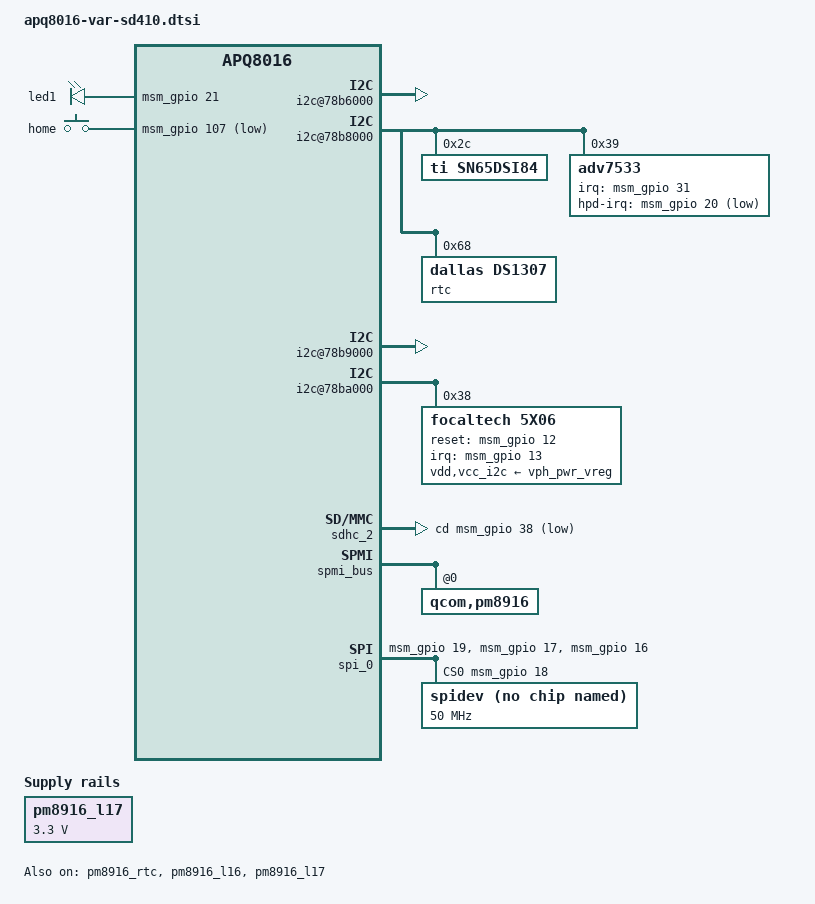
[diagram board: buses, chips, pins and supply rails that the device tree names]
/* Copyright (c) 2015, The Linux Foundation. All rights reserved.
 *
 * This program is free software; you can redistribute it and/or modify
 * it under the terms of the GNU General Public License version 2 and
 * only version 2 as published by the Free Software Foundation.
 *
 * This program is distributed in the hope that it will be useful,
 * but WITHOUT ANY WARRANTY; without even the implied warranty of
 * MERCHANTABILITY or FITNESS FOR A PARTICULAR PURPOSE.  See the
 * GNU General Public License for more details.
 */

#include "apq8016-dart.dtsi"
#include "apq8016-camera-sensor-var-sd410.dtsi"
#include "dsi-panel-var-sd410.dtsi"

/ {
	aliases {
		serial0 = &blsp1_uart2;
	};
};

&soc {
	i2c@78b6000 { /* BLSP1 QUP2 */
	        status = "ok";
	};

	i2c@78b8000 { /* BLSP1 QUP4 */
        status = "ok";
		/* DSI_TO_LVDS I2C configuration */
		sn65dsi84@2c {
			compatible = "ti,sn65dsi84";
			reg = <0x2c>;
			sn65dsi84,addresses = <	0x09 0x0A 0x0B 0x0D 0x10 0x11 0x12 0x13 
									0x18 0x19 0x1A 0x1B 0x20 0x21 0x22 0x23 
									0x24 0x25 0x26 0x27 0x28 0x29 0x2A 0x2B 
									0x2C 0x2D 0x2E 0x2F 0x30 0x31 0x32 0x33 
									0x34 0x35 0x36 0x37 0x38 0x39 0x3A 0x3B 
									0x3C 0x3D 0x3E 0x0D>;
			sn65dsi84,values =    <	0x00 0x01 0x10 0x00 0x26 0x00 0x11 0x00 
									0x7a 0x00 0x03 0x00 0x20 0x03 0x00 0x00 
									0x00 0x00 0x00 0x00 0x21 0x00 0x00 0x00 
									0x30 0x00 0x00 0x00 0x03 0x00 0x00 0x00 
									0x28 0x00 0x00 0x00 0x00 0x00 0x00 0x00 
									0x00 0x00 0x00 0x01>;
		};
		
		/* DSI_TO_HDMI I2C configuration */
		adv7533@39 {
			compatible = "adv7533";
			reg = <0x39>;
			adv7533,video-mode = <3>; /* 3 = 1080p */
			adv7533,main-addr = <0x39>;
			adv7533,cec-dsi-addr = <0x3C>;
			adv7533,audio = <1>;
			pinctrl-names = "pmx_adv7533_active","pmx_adv7533_suspend";
			pinctrl-0 = <&adv7533_int_active &adv7533_hpd_int_active &adv7533_switch_active>;
			pinctrl-1 = <&adv7533_int_suspend &adv7533_hpd_int_suspend &adv7533_switch_suspend>;
			adv7533,irq-gpio = <&msm_gpio 31 0x2002>;
			adv7533,hpd-irq-gpio = <&msm_gpio 20 0x2003>;
			clocks = <&clock_rpm clk_bb_clk2>;
			clock-names = "ref_clk";
		};
		
		/* DS1307 RTC module */
		rtc@0x68 {
			compatible = "dallas,ds1307";
			reg = <0x68>;
		};
 	};

	i2c@78b9000 { /* BLSP1 QUP5 */
		status = "ok";
	};

	i2c@78ba000 { /* BLSP1 QUP6 */
		status = "ok";
		focaltech@38{
			compatible = "focaltech,5x06";
			reg = <0x38>;
			interrupt-parent = <&msm_gpio>;
			interrupts = <13 0x2>;
			vdd-supply = <&vph_pwr_vreg>;
			vcc_i2c-supply = <&vph_pwr_vreg>;
			pinctrl-names = "pmx_ts_active","pmx_ts_suspend","pmx_ts_release";
			pinctrl-0 = <&ts_int_active &ts_reset_active>;
			pinctrl-1 = <&ts_int_suspend &ts_reset_suspend>;
			pinctrl-2 = <&ts_release>;
			focaltech,name = "ft5x06";
			focaltech,family-id = <0x54>;
			focaltech,reset-gpio = <&msm_gpio 12 0x00>;
			focaltech,irq-gpio = <&msm_gpio 13 0x00>;
			focaltech,display-coords = <0 0 800 480>;
			focaltech,hard-reset-delay-ms = <50>;
			focaltech,soft-reset-delay-ms = <50>;
			focaltech,no-force-update;
			focaltech,i2c-pull-up;
			focaltech,group-id = <1>;
			focaltech,hard-reset-delay = <20>;
			focaltech,soft-reset-delay = <150>;
			focaltech,num-max-touches = <2>;
			focaltech,fw-name = "ft_8610_qrd_fw.bin";
			focaltech,fw-delay-aa-ms = <100>;
			focaltech,fw-delay-55-ms = <30>;
			focaltech,fw-upgrade-id1 = <0x79>;
			focaltech,fw-upgrade-id2 = <0x08>;
			focaltech,fw-delay-readid-ms = <10>;
			focaltech,fw-delay-era-flsh-ms = <2000>;
			focaltech,fw-auto-cal;
			focaltech,mirror_h;
			focaltech,mirror_v;
		};
	};

	gpio-leds {
		compatible = "gpio-leds";
		status = "ok";
		pinctrl-names = "default";
		pinctrl-0 = <&gpio_led_off>;

		general1 {
			gpios = <&msm_gpio 21 0>;
			label = "led1";
			linux,default-trigger = "none";
			default-state = "off";
			retain-state-suspended;
		};
	};

	gpio_keys {
        status = "ok";
		compatible = "gpio-keys";
		input-name = "gpio-keys";
		pinctrl-names = "tlmm_gpio_key_active","tlmm_gpio_key_suspend";
		pinctrl-0 = <&gpio_key_active>;
		pinctrl-1 = <&gpio_key_suspend>;

		home {
			label = "home";
			gpios = <&msm_gpio 107 0x1>;
			linux,input-type = <1>;
			linux,code = <102>;
			gpio-key,wakeup;
			debounce-interval = <15>;
		};
	};
};

&usb_otg {
	qcom,hsusb-otg-mode = <3>;
	qcom,usbid-gpio = <&msm_gpio 121 0>;
	qcom,hub-reset-gpio = <&pm8916_gpios 3 0>;
	qcom,sw-sel-gpio = <&pm8916_gpios 4 0>;
	pinctrl-names = "default";
	pinctrl-0 = <&usbid_default>;
	vbus_otg-supply = <&vph_pwr_vreg>;
};

&sdhc_2 {
	vdd-supply = <&pm8916_l11>;
	qcom,vdd-voltage-level = <2800000 2950000>;
	qcom,vdd-current-level = <15000 400000>;

	vdd-io-supply = <&pm8916_l12>;
	qcom,vdd-io-voltage-level = <1800000 2950000>;
	qcom,vdd-io-current-level = <200 50000>;

	pinctrl-names = "active", "sleep";
	pinctrl-0 = <&sdc2_clk_on &sdc2_cmd_on &sdc2_data_on &sdc2_cd_on>;
	pinctrl-1 = <&sdc2_clk_off &sdc2_cmd_off &sdc2_data_off &sdc2_cd_off>;

	#address-cells = <0>;
	interrupt-parent = <&sdhc_2>;
	interrupts = <0 1 2>;
	#interrupt-cells = <1>;
	interrupt-map-mask = <0xffffffff>;
	interrupt-map = <0 &intc 0 125 0
			1 &intc 0 221 0
			2 &msm_gpio 38 0>;
	interrupt-names = "hc_irq", "pwr_irq", "status_irq";
	cd-gpios = <&msm_gpio 38 0x1>;

	status = "ok";
};

&mdss_mdp {
	qcom,mdss-pref-prim-intf = "dsi";
};

&mdss_dsi0 {
	qcom,dsi-pref-prim-pan = <&dsi_variscite>;
	pinctrl-names = "mdss_default", "mdss_sleep";
	pinctrl-0 = <&mdss_dsi_active &mdss_te_active &mdss_dsiext_active>;
	pinctrl-1 = <&mdss_dsi_suspend &mdss_te_suspend &mdss_dsiext_suspend>;

	qcom,platform-reset-gpio = <&msm_gpio 32 0>;

	qcom,panel-supply-entries {
			#address-cells = <1>;
			#size-cells = <0>;

			qcom,panel-supply-entry@0 {
				reg = <0>;
				qcom,supply-name = "vdd";
				qcom,supply-min-voltage = <3300000>;
				qcom,supply-max-voltage = <3300000>;
				qcom,supply-enable-load = <100000>;
				qcom,supply-disable-load = <100>;
			};

			qcom,panel-supply-entry@1 {
				reg = <1>;
				qcom,supply-name = "vddio";
				qcom,supply-min-voltage = <1800000>;
				qcom,supply-max-voltage = <1800000>;
				qcom,supply-enable-load = <100000>;
				qcom,supply-disable-load = <100>;
			};
	};

};

&tlmm_pinmux {
	pmx_mdss_dsiext: pmx_mdss_dsiext {
		qcom,pins = <&gp 109>;
		qcom,pin-func = <0>;
		qcom,num-grp-pins = <1>;
		label = "mdss-dsiext";
		mdss_dsiext_active: active {
			drive-strength = <2>; /* 2 mA */
			bias-pull-down; /* pull down */
			output-low;
		};
		mdss_dsiext_suspend: suspend {
			drive-strength = <2>; /* 2 mA */
			bias-pull-down; /* pull down */
			output-low;
		};
	};
	
	tlmm_gpio_key {
		qcom,pins = <&gp 107>;
		qcom,num-grp-pins = <1>;
	};
	
	usb-id-pin {
		qcom,pins = <&gp 121>;
	     usbid_default{
			drive-strength = <2>;
			bias-disable; /* no pullup */
			output-low;
		};
	};

	gpio_led_pins {
		qcom,pins = <&gp 21>, <&gp 120>;
		qcom,num-grp-pins = <2>;
		label = "gpio-led-pins";
		gpio_led_off: led_off {
			drive-strength = <2>;
			bias-disable; /* no pullup */
			output-low;
		};
	};

	/* add pingrp for adv7533 */
	pmx_adv7533_int_active {
		qcom,pins = <&gp 31>;
		qcom,pin-func = <0>;
		qcom,num-grp-pins = <1>;
		label = "pmx_adv7533_int_active";

		adv7533_int_active: adv7533_int_active {
			drive-strength = <16>;
			bias-disable;
		};
	};

	pmx_adv7533_int_suspend {
		qcom,pins = <&gp 20>;
		qcom,pin-func = <0>;
		qcom,num-grp-pins = <1>;
		label = "pmx_adv7533_int_suspend";

		adv7533_int_suspend: adv7533_int_suspend {
			drive-strength = <16>;
			bias-disable;
		};
	};

	pmx_adv7533_hpd_int_active {
		qcom,pins = <&gp 20>;
		qcom,pin-func = <0>;
		qcom,num-grp-pins = <1>;
		label = "pmx_adv7533_hpd_int_active";

		adv7533_hpd_int_active: adv7533_hpd_int_active {
			drive-strength = <16>;
			bias-disable;
		};
	};

	pmx_adv7533_hpd_int_suspend {
		qcom,pins = <&gp 20>;
		qcom,pin-func = <0>;
		qcom,num-grp-pins = <1>;
		label = "pmx_adv7533_hpd_int_suspend";

		adv7533_hpd_int_suspend: adv7533_hpd_int_suspend {
			drive-strength = <16>;
			bias-disable;
		};
	};

	pmx_adv7533_switch_active {
		qcom,pins = <&gp 32>;
		qcom,pin-func = <0>;
		qcom,num-grp-pins = <1>;
		label = "pmx_adv7533_switch_active";

		adv7533_switch_active: adv7533_switch_active {
			drive-strength = <16>;
			bias-disable;
		};
	};

	pmx_adv7533_switch_suspend {
		qcom,pins = <&gp 32>;
		qcom,pin-func = <0>;
		qcom,num-grp-pins = <1>;
		label = "pmx_adv7533_switch_suspend";

		adv7533_switch_suspend: adv7533_switch_suspend {
			drive-strength = <16>;
			bias-disable;
		};
	};
};

&pm8916_pon {
	qcom,pon_1 {
		qcom,s1-timer = <2000>;
		qcom,s2-timer = <500>;
	};
	qcom,pon_2 { /* Setting PM_RESET_IN as BACK key */
		linux,code = <158>;
	};
};


&pm8916_mpps {
	mpp@a300 { /* MPP 4 */
		/* Backlight PWM */
		qcom,mode = <1>;		/* Digital output */
		qcom,invert = <0>;		/* Disable invert */
		qcom,src-sel = <4>;		/* DTEST1 */
		qcom,vin-sel = <0>;		/* VPH_PWR */
		qcom,master-en = <1>;		/* Enable MPP */
        status = "ok";
	};
};

&pm8916_gpios {
	gpio@c000 { /* GPIO 1 */
		qcom,mode = <1>;		/* Digital output */
		qcom,pull = <4>;		/* Pull down */
		qcom,vin-sel = <2>;		/* VIN 2*/
		qcom,src-sel = <1>;		/* GPIO */
		qcom,master-en = <1>;	/* Enable GPIO */
		status = "ok";
	};

	gpio@c100 { /* GPIO 2 */
		qcom,mode = <1>;		/* Digital output */
		qcom,pull = <4>;		/* Pull down */
		qcom,vin-sel = <2>;		/* VIN 2*/
		qcom,src-sel = <1>;		/* GPIO */
		qcom,master-en = <1>;	/* Enable GPIO */
		status = "ok";
	};

	/* USB_HUB_RESET_N*/
	gpio@c200 { /* GPIO 3*/
		qcom,mode = <1>;	/* Digital output */
		qcom,pull = <5>;	/* No PULL */
		qcom,vin-sel = <0>;	/* VPH */
		qcom,src-sel = <0>;	/* CONSTANT */
		qcom,master-en = <1>; 	/* ENABLE GPIO */
		status = "ok";
	};

	/* USB_SW_SEL*/
	gpio@c300 { /* GPIO 4 */
		qcom,mode = <1>;	/* Digital output */
		qcom,pull = <5>;	/* No PULL */
		qcom,vin-sel = <0>;	/* VPH */
		qcom,src-sel = <0>;	/* CONSTANT */
		qcom,master-en = <1>; 	/* ENABLE GPIO */
		status = "ok";
	};
};

&pm8916_rtc {
        status = "ok";
};

&spmi_bus {
	qcom,pm8916@0 {
		qcom,leds@c000  {
			compatible = "qcom,leds-qpnp";
			reg = <0xc000 0x100>;
			status = "ok";
			qcom,led_gpio_1 {
				label = "gpio";
				linux,name = "led3";
				qcom,max-current = <40>;
				qcom,id = <8>;
				linux,default-trigger = "none";
				qcom,default-state = "off";
				qcom,source-sel = <1>;
				qcom,mode-ctrl = <0x10>;
				qcom,vin-ctrl = <0x03>;
			};
		};
		qcom,leds@c100  {
			compatible = "qcom,leds-qpnp";
			reg = <0xc100 0x100>;
			status = "ok";
			qcom,led_gpio_2 {
				label = "gpio";
				linux,name = "boot";
				qcom,max-current = <40>;
				qcom,id = <8>;
				linux,default-trigger =
						"boot-indication";
				qcom,default-state = "on";
				qcom,source-sel = <1>;
				qcom,mode-ctrl = <0x10>;
				qcom,vin-ctrl = <0x03>;
			};
		};
		pm8916_pon: qcom,power-on@800 {
			qcom,pon_1 {
				qcom,s2-type = <7>;
			};
		};
	};
};

/* RPM controlled regulators */
/*GPS Antenna power*/
&pm8916_l16{
	status = "ok";
	regulator-always-on;
};

&pm8916_l17 {
	status = "ok";
	regulator-min-microvolt = <3300000>;
	regulator-max-microvolt = <3300000>;
	qcom,init-voltage = <3300000>;
};

&mdss_fb0 {
	qcom,boot-indication-enabled;
};

&spi_0 {
	gpios = <&msm_gpio 19 0>, /* CLK  */
			<&msm_gpio 17 0>, /* MISO */
			<&msm_gpio 16 0>; /* MOSI */
	cs-gpios = <&msm_gpio 18 0>;

	lattice,spi-usb@0{
		status = "disabled";
	};
	
	spidev@0 {
		compatible = "spidev";
		spi-max-frequency = <50000000>;
		reg = <0>;
		spi-cpol = <1>;
		spi-cpha = <1>;
		status = "ok";
	};
};

&spmi_bus {
	qcom,pm8916@0 {
		qcom,leds@a100 { /* WLAN LED */
		status = "ok";
			qcom,led_mpp_2 {
				label = "mpp";
				linux,name = "wlan";
				qcom,max-current = <40>;
				qcom,id = <6>;
				qcom,source-sel = <1>;
				qcom,mode-ctrl = <0x10>;
				qcom,mode = "manual";
				linux,default-trigger =
					"wlan-indication-led";
			};
		};

		qcom,leds@a200 { /* BT LED */
		compatible = "qcom,leds-qpnp";
		reg = <0xa200 0x100>;
		status = "ok";
			qcom,led_mpp_3 {
				label = "mpp";
				linux,name = "bt";
				qcom,max-current = <40>;
				qcom,id = <6>;
				qcom,source-sel = <1>;
				qcom,mode-ctrl = <0x10>;
				qcom,mode = "manual";
				linux,default-trigger =
					"bt-indication-led";
			};
		};
	};
};
